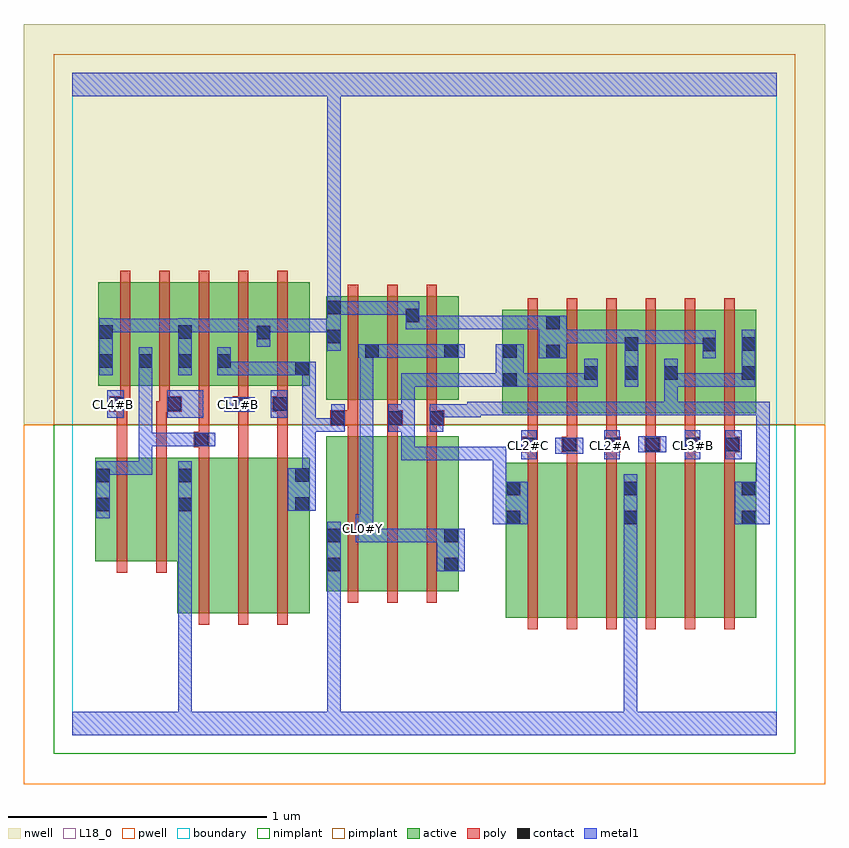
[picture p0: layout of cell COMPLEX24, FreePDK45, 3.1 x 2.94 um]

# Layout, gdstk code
import gdstk
lib = gdstk.Library(unit=1e-6, precision=1e-09)
def R(c, l, rs):  # rectangles x0, y0, x1, y1
    for r in rs: c.add(gdstk.rectangle(r[:2], r[2:], *l))
def A(c, l, x, y, w, h, nx, ny, dx, dy):  # array of equal rectangles
    R(c, l, [(x+i*dx, y+j*dy, x+i*dx+w, y+j*dy+h) for i in range(nx) for j in range(ny)])
active = (1, 0)
pwell = (2, 0)
nwell = (3, 0)
nimplant = (4, 0)
pimplant = (5, 0)
poly = (9, 0)
contact = (10, 0)
metal1 = (11, 0)
L18_0 = (18, 0)
boundary = (235, 0)

complex24 = lib.new_cell('COMPLEX24')
A(complex24, active, 0.1, 1.35, 0.212, 0.4, 4, 1, 0.152, 0)
A(complex24, active, 0.1, 1.35, 0.06, 0.294, 5, 1, 0.152, 0)
R(complex24, active, [(1.674,0.454,1.854,1.054), (1.854,0.454,2.006,1.054), (2.006,0.454,2.186,1.054), (2.126,0.454,2.31,1.054), (2.31,0.454,2.462,1.054), (2.462,0.454,2.642,1.054), (0.404,0.472,0.584,1.072), (0.584,0.472,0.736,1.072), (0.736,0.472,0.916,1.072), (0.856,0.556,0.916,1.072), (0.98,0.556,1.16,1.156), (0.98,0.556,1.04,1.156), (1.16,0.556,1.312,1.156), (1.312,0.556,1.492,1.156), (1.432,0.556,1.492,1.156), (1.674,0.556,1.734,1.054), (2.126,0.556,2.186,0.984), (2.582,0.556,2.642,1.054), (0.088,0.672,0.268,1.072), (0.268,0.672,0.464,1.072), (0.088,0.756,0.148,1.072), (0.404,0.756,0.464,1.072), (1.66,1.244,1.72,1.644), (1.66,1.244,1.886,1.644), (1.826,1.244,1.886,1.644), (1.826,1.244,2.034,1.644), (1.974,1.244,2.034,1.644), (1.974,1.244,2.19,1.644), (2.13,1.244,2.19,1.644), (2.13,1.244,2.342,1.644), (2.282,1.244,2.342,1.644), (2.282,1.244,2.49,1.644), (2.43,1.244,2.49,1.644), (2.43,1.244,2.642,1.644), (2.582,1.244,2.642,1.644), (0.98,1.296,1.188,1.696), (0.98,1.296,1.04,1.682), (1.128,1.296,1.344,1.696), (1.128,1.296,1.188,1.644), (1.284,1.296,1.344,1.696), (1.284,1.296,1.492,1.696), (1.432,1.296,1.492,1.644), (0.708,1.35,0.916,1.75), (0.856,1.35,0.916,1.644)])
R(complex24, pwell, [(-0.188,-0.188,2.908,1.2)])
R(complex24, nwell, [(-0.188,1.2,2.908,2.748)])
R(complex24, nimplant, [(-0.072,-0.072,2.792,1.2)])
R(complex24, pimplant, [(-0.072,1.2,2.792,2.632)])
A(complex24, poly, 1.758, 0.41, 0.04, 0.688, 6, 1, 0.152, 0)
A(complex24, poly, 0.488, 0.428, 0.04, 0.688, 3, 1, 0.152, 0)
A(complex24, poly, 1.064, 0.512, 0.04, 0.688, 3, 1, 0.152, 0)
A(complex24, poly, 1.758, 1.058, 0.04, 0.076, 6, 1, 0.152, 0)
A(complex24, poly, 1.758, 1.114, 0.04, 0.126, 6, 1, 0.152, 0)
A(complex24, poly, 1.064, 1.16, 0.04, 0.076, 3, 2, 0.152, 0.056)
A(complex24, poly, 1.758, 1.2, 0.04, 0.488, 6, 1, 0.152, 0)
A(complex24, poly, 1.064, 1.252, 0.04, 0.488, 3, 1, 0.152, 0)
A(complex24, poly, 0.184, 1.306, 0.04, 0.488, 5, 1, 0.152, 0)
R(complex24, poly, [(0.172,0.628,0.212,1.116), (0.324,0.628,0.364,1.116), (0.172,1.076,0.212,1.29), (0.324,1.076,0.364,1.29), (0.488,1.076,0.528,1.152), (0.64,1.076,0.68,1.29), (0.792,1.076,0.832,1.29), (1.738,1.094,1.798,1.154), (1.89,1.094,1.95,1.154), (2.058,1.094,2.118,1.154), (2.21,1.094,2.27,1.154), (2.366,1.094,2.426,1.154), (2.518,1.094,2.578,1.154), (0.468,1.112,0.528,1.172), (1.758,1.114,1.798,1.154), (1.758,1.114,1.798,1.154), (1.91,1.114,1.95,1.154), (1.91,1.114,1.95,1.154), (2.062,1.114,2.102,1.154), (2.062,1.114,2.102,1.154), (2.214,1.114,2.254,1.154), (2.214,1.114,2.254,1.154), (2.366,1.114,2.406,1.154), (2.366,1.114,2.406,1.154), (2.518,1.114,2.558,1.154), (2.518,1.114,2.558,1.154), (0.488,1.132,0.528,1.172), (0.488,1.132,0.528,1.172), (0.488,1.132,0.528,1.346), (0.996,1.196,1.104,1.256), (1.064,1.196,1.104,1.236), (1.064,1.196,1.104,1.236), (1.216,1.196,1.276,1.256), (1.368,1.196,1.408,1.236), (1.368,1.196,1.408,1.236), (1.368,1.196,1.436,1.256), (1.216,1.216,1.256,1.256), (1.216,1.216,1.256,1.256), (0.142,1.25,0.212,1.31), (0.324,1.25,0.376,1.29), (0.336,1.25,0.376,1.29), (0.336,1.25,0.422,1.31), (0.62,1.25,0.68,1.31), (0.64,1.25,0.68,1.29), (0.64,1.25,0.68,1.29), (0.772,1.25,0.832,1.31), (0.172,1.27,0.212,1.31), (0.172,1.27,0.224,1.31), (0.184,1.27,0.224,1.346), (0.336,1.27,0.376,1.346), (0.64,1.27,0.68,1.346), (0.792,1.27,0.832,1.31), (0.792,1.27,0.832,1.31), (0.792,1.27,0.832,1.346)])
A(complex24, contact, 0.104, 1.42, 0.052, 0.052, 4, 1, 0.152, 0)
R(complex24, contact, [(0.984,0.634,1.036,0.686), (1.436,0.634,1.488,0.686), (0.984,0.746,1.036,0.798), (1.436,0.746,1.488,0.798), (1.678,0.816,1.73,0.868), (2.13,0.816,2.182,0.868), (2.586,0.816,2.638,0.868), (0.092,0.866,0.144,0.918), (0.408,0.866,0.46,0.918), (0.86,0.868,0.912,0.92), (1.678,0.928,1.73,0.98), (2.13,0.928,2.182,0.98), (2.586,0.928,2.638,0.98), (0.092,0.978,0.144,1.03), (0.408,0.978,0.46,1.03), (0.86,0.98,0.912,1.032), (1.742,1.098,1.794,1.15), (1.894,1.098,1.946,1.15), (2.062,1.098,2.114,1.15), (2.214,1.098,2.266,1.15), (2.37,1.098,2.422,1.15), (2.522,1.098,2.574,1.15), (0.472,1.116,0.524,1.168), (1,1.2,1.052,1.252), (1.22,1.2,1.272,1.252), (1.38,1.2,1.432,1.252), (0.146,1.254,0.198,1.306), (0.366,1.254,0.418,1.306), (0.624,1.254,0.676,1.306), (0.776,1.254,0.828,1.306), (1.664,1.346,1.716,1.398), (1.978,1.374,2.03,1.426), (2.134,1.374,2.186,1.426), (2.286,1.374,2.338,1.426), (2.586,1.374,2.638,1.426), (0.86,1.392,0.912,1.444), (1.83,1.456,1.882,1.508), (1.132,1.458,1.184,1.51), (1.436,1.458,1.488,1.51), (1.664,1.458,1.716,1.51), (2.434,1.484,2.486,1.536), (2.134,1.486,2.186,1.538), (2.586,1.486,2.638,1.538), (0.984,1.514,1.036,1.566), (0.712,1.53,0.764,1.582), (0.104,1.532,0.156,1.584), (0.408,1.532,0.46,1.584), (1.83,1.568,1.882,1.62), (1.288,1.596,1.34,1.648), (0.984,1.626,1.036,1.678)])
R(complex24, metal1, [(0,0,2.72,0.092), (0.408,0.04,0.46,0.092), (0.408,0.04,0.46,0.092), (0.408,0.04,0.46,0.092), (0.408,0.04,0.46,0.092), (0.408,0.04,0.46,0.092), (0.408,0.04,0.46,0.092), (0.408,0.04,0.46,0.092), (0.408,0.04,0.46,0.092), (0.408,0.04,0.46,0.89), (0.984,0.04,1.036,0.092), (0.984,0.04,1.036,0.092), (0.984,0.04,1.036,0.658), (2.13,0.04,2.182,0.092), (2.13,0.04,2.182,0.092), (2.13,0.04,2.182,0.092), (2.13,0.04,2.182,0.092), (2.13,0.04,2.182,0.092), (2.13,0.04,2.182,0.092), (2.13,0.04,2.182,0.092), (2.13,0.04,2.182,0.092), (2.13,0.04,2.182,0.84), (0.984,0.606,1.036,0.658), (0.984,0.606,1.036,0.658), (0.984,0.606,1.036,0.658), (0.984,0.606,1.036,0.658), (0.984,0.606,1.036,0.658), (0.984,0.606,1.036,0.658), (0.984,0.606,1.036,0.826), (1.408,0.634,1.516,0.798), (1.094,0.746,1.162,0.854), (1.11,0.746,1.162,0.798), (1.11,0.746,1.162,0.798), (1.11,0.746,1.322,0.798), (1.27,0.746,1.322,0.798), (1.27,0.746,1.322,0.798), (1.27,0.746,1.322,0.798), (1.27,0.746,1.46,0.798), (1.408,0.746,1.46,0.798), (1.408,0.746,1.46,0.798), (2.13,0.788,2.182,1.008), (1.11,0.802,1.162,1.51), (1.624,0.816,1.758,0.98), (2.558,0.816,2.694,0.98), (0.092,0.838,0.144,1.058), (0.408,0.838,0.46,1.058), (0.832,0.868,0.94,1.032), (1.624,0.928,1.676,1.114), (2.642,0.928,2.694,1.288), (0.888,0.98,0.94,1.032), (0.888,0.98,0.94,1.032), (0.888,0.98,0.94,1.224), (0.092,1.006,0.144,1.058), (0.092,1.006,0.144,1.058), (0.092,1.006,0.308,1.058), (0.256,1.006,0.308,1.058), (0.256,1.006,0.308,1.168), (1.27,1.062,1.322,1.224), (1.27,1.062,1.554,1.114), (1.502,1.062,1.554,1.114), (1.502,1.062,1.554,1.114), (1.502,1.062,1.554,1.114), (1.502,1.062,1.676,1.114), (1.624,1.062,1.676,1.114), (1.734,1.066,1.794,1.178), (2.054,1.066,2.114,1.178), (2.366,1.066,2.426,1.178), (2.522,1.066,2.586,1.178), (1.866,1.088,1.974,1.15), (2.186,1.094,2.294,1.156), (0.256,1.116,0.308,1.168), (0.256,1.116,0.308,1.168), (0.256,1.116,0.308,1.168), (0.256,1.116,0.308,1.168), (0.256,1.116,0.308,1.168), (0.256,1.116,0.496,1.168), (0.256,1.116,0.308,1.444), (0.444,1.116,0.496,1.168), (0.444,1.116,0.496,1.168), (0.444,1.116,0.552,1.168), (0.888,1.172,0.94,1.224), (0.888,1.172,0.94,1.224), (0.888,1.172,0.94,1.224), (0.888,1.172,1.052,1.224), (0.888,1.172,0.94,1.444), (1,1.172,1.052,1.28), (1.22,1.172,1.272,1.28), (1.22,1.172,1.322,1.224), (1.27,1.172,1.322,1.398), (1.38,1.172,1.432,1.28), (0.134,1.226,0.198,1.334), (0.366,1.226,0.506,1.334), (0.766,1.226,0.83,1.334), (1.38,1.228,1.578,1.28), (1.526,1.228,1.578,1.288), (1.526,1.236,1.706,1.288), (1.654,1.236,1.706,1.288), (1.654,1.236,1.706,1.288), (1.654,1.236,1.706,1.288), (1.654,1.236,1.92,1.288), (1.868,1.236,1.92,1.288), (1.868,1.236,1.92,1.288), (1.868,1.236,1.92,1.288), (1.868,1.236,2.072,1.288), (2.02,1.236,2.072,1.288), (2.02,1.236,2.072,1.288), (2.02,1.236,2.072,1.288), (2.02,1.236,2.228,1.288), (2.176,1.236,2.228,1.288), (2.176,1.236,2.228,1.288), (2.176,1.236,2.228,1.288), (2.176,1.236,2.338,1.288), (2.286,1.236,2.338,1.288), (2.286,1.236,2.338,1.288), (2.286,1.236,2.338,1.288), (2.286,1.236,2.5,1.288), (2.286,1.236,2.338,1.398), (2.448,1.236,2.5,1.288), (2.448,1.236,2.5,1.288), (2.448,1.236,2.5,1.288), (2.448,1.236,2.694,1.288), (2.642,1.236,2.694,1.288), (2.642,1.236,2.694,1.288), (2.642,1.236,2.694,1.288), (0.586,1.25,0.704,1.306), (1.27,1.346,1.322,1.398), (1.27,1.346,1.322,1.398), (1.27,1.346,1.322,1.398), (1.27,1.346,1.482,1.398), (1.43,1.346,1.482,1.398), (1.43,1.346,1.482,1.398), (1.43,1.346,1.482,1.398), (1.43,1.346,1.688,1.398), (1.636,1.346,1.744,1.51), (1.692,1.346,1.744,1.398), (1.692,1.346,1.744,1.398), (1.692,1.346,1.92,1.398), (1.868,1.346,1.92,1.398), (1.868,1.346,1.92,1.398), (1.868,1.346,1.92,1.398), (1.868,1.346,2.03,1.398), (1.978,1.346,2.03,1.454), (2.134,1.346,2.186,1.566), (2.286,1.346,2.338,1.398), (2.286,1.346,2.338,1.398), (2.286,1.346,2.338,1.454), (2.286,1.346,2.5,1.398), (2.448,1.346,2.5,1.398), (2.448,1.346,2.638,1.398), (2.586,1.346,2.638,1.398), (2.586,1.346,2.638,1.398), (2.586,1.346,2.638,1.566), (0.104,1.392,0.156,1.612), (0.256,1.392,0.308,1.5), (0.408,1.392,0.46,1.612), (0.56,1.392,0.612,1.444), (0.56,1.392,0.612,1.444), (0.56,1.392,0.612,1.5), (0.56,1.392,0.774,1.444), (0.722,1.392,0.774,1.444), (0.722,1.392,0.774,1.444), (0.722,1.392,0.774,1.444), (0.722,1.392,0.884,1.444), (0.832,1.392,0.94,1.444), (1.802,1.456,1.91,1.62), (2.434,1.456,2.486,1.564), (1.104,1.458,1.212,1.51), (1.11,1.458,1.162,1.51), (1.11,1.458,1.162,1.51), (1.16,1.458,1.212,1.51), (1.16,1.458,1.212,1.51), (1.16,1.458,1.322,1.51), (1.27,1.458,1.322,1.51), (1.27,1.458,1.322,1.51), (1.27,1.458,1.322,1.51), (1.27,1.458,1.46,1.51), (1.408,1.458,1.46,1.51), (1.408,1.458,1.46,1.51), (1.408,1.458,1.516,1.51), (0.984,1.486,1.036,1.706), (0.712,1.502,0.764,1.61), (2.134,1.512,2.186,1.564), (2.134,1.512,2.186,1.564), (2.134,1.512,2.376,1.564), (2.324,1.512,2.376,1.564), (2.324,1.512,2.376,1.564), (2.324,1.512,2.376,1.564), (2.324,1.512,2.486,1.564), (1.858,1.514,1.91,1.566), (1.858,1.514,1.91,1.566), (1.858,1.514,2.03,1.566), (1.978,1.514,2.03,1.566), (1.978,1.514,2.03,1.566), (1.978,1.514,2.03,1.566), (1.978,1.514,2.186,1.566), (0.104,1.558,0.156,1.61), (0.104,1.558,0.156,1.61), (0.104,1.558,0.308,1.61), (0.256,1.558,0.308,1.61), (0.256,1.558,0.308,1.61), (0.256,1.558,0.308,1.61), (0.256,1.558,0.46,1.61), (0.408,1.558,0.46,1.61), (0.408,1.558,0.46,1.61), (0.408,1.558,0.654,1.61), (0.602,1.558,0.654,1.61), (0.602,1.558,0.654,1.61), (0.602,1.558,0.654,1.61), (0.602,1.558,0.764,1.61), (0.712,1.558,0.764,1.61), (0.712,1.558,0.764,1.61), (0.712,1.558,0.942,1.61), (0.89,1.558,0.942,1.61), (0.89,1.558,1.036,1.61), (1.288,1.568,1.45,1.62), (1.288,1.568,1.34,1.676), (1.398,1.568,1.45,1.62), (1.398,1.568,1.45,1.62), (1.398,1.568,1.45,1.62), (1.398,1.568,1.688,1.62), (1.636,1.568,1.688,1.62), (1.636,1.568,1.688,1.62), (1.636,1.568,1.688,1.62), (1.636,1.568,1.854,1.62), (0.984,1.624,1.146,1.676), (1.094,1.624,1.146,1.676), (1.094,1.624,1.146,1.676), (1.094,1.624,1.146,1.676), (1.094,1.624,1.256,1.676), (1.204,1.624,1.256,1.676), (1.204,1.624,1.34,1.676), (0.984,1.654,1.036,1.706), (0.984,1.654,1.036,1.706), (0.984,1.654,1.036,2.52), (0,2.468,2.72,2.56), (0.984,2.468,1.036,2.52), (0.984,2.468,1.036,2.52), (0.984,2.468,1.036,2.52), (0.984,2.468,1.036,2.52), (0.984,2.468,1.036,2.52), (0.984,2.468,1.036,2.52), (0.984,2.468,1.036,2.52), (0.984,2.468,1.036,2.52), (0.984,2.468,1.036,2.52), (0.984,2.468,1.036,2.52), (0.984,2.468,1.036,2.52), (0.984,2.468,1.036,2.52), (0.984,2.468,1.036,2.52), (0.984,2.468,1.036,2.52)])
A(complex24, L18_0, 1.734, 1.094, 0.052, 0.052, 6, 1, 0.16, 0)
A(complex24, L18_0, 0.454, 1.254, 0.052, 0.052, 3, 1, 0.16, 0)
R(complex24, L18_0, [(0,0,2.72,0.092), (0.408,0.04,0.46,0.092), (0.408,0.04,0.46,0.092), (0.408,0.04,0.46,0.092), (0.408,0.04,0.46,0.092), (0.408,0.04,0.46,0.092), (0.408,0.04,0.46,0.092), (0.408,0.04,0.46,0.092), (0.408,0.04,0.46,0.092), (0.408,0.04,0.46,0.89), (0.984,0.04,1.036,0.092), (0.984,0.04,1.036,0.092), (0.984,0.04,1.036,0.658), (2.13,0.04,2.182,0.092), (2.13,0.04,2.182,0.092), (2.13,0.04,2.182,0.092), (2.13,0.04,2.182,0.092), (2.13,0.04,2.182,0.092), (2.13,0.04,2.182,0.092), (2.13,0.04,2.182,0.092), (2.13,0.04,2.182,0.092), (2.13,0.04,2.182,0.84), (0.984,0.606,1.036,0.826), (0.984,0.606,1.036,0.658), (0.984,0.606,1.036,0.658), (0.984,0.606,1.036,0.658), (0.984,0.606,1.036,0.658), (0.984,0.606,1.036,0.658), (0.984,0.606,1.036,0.658), (1.408,0.634,1.516,0.798), (1.094,0.746,1.162,0.854), (1.11,0.746,1.162,0.798), (1.11,0.746,1.162,0.798), (1.11,0.746,1.322,0.798), (1.27,0.746,1.322,0.798), (1.27,0.746,1.322,0.798), (1.27,0.746,1.322,0.798), (1.27,0.746,1.46,0.798), (1.408,0.746,1.46,0.798), (1.408,0.746,1.46,0.798), (1.094,0.774,1.146,0.826), (2.13,0.788,2.182,1.008), (1.11,0.802,1.162,1.51), (0.408,0.838,0.46,1.058), (1.734,1.066,1.794,1.178), (2.054,1.066,2.114,1.178), (2.366,1.066,2.426,1.178), (2.522,1.066,2.586,1.178), (1.866,1.088,1.974,1.15), (2.186,1.094,2.294,1.156), (0.134,1.226,0.198,1.334), (0.366,1.226,0.506,1.334), (0.766,1.226,0.83,1.334), (0.586,1.25,0.704,1.306), (0.134,1.254,0.186,1.306), (2.134,1.346,2.186,1.566), (0.104,1.392,0.156,1.612), (0.408,1.392,0.46,1.612), (1.802,1.456,1.91,1.62), (2.434,1.456,2.486,1.564), (1.104,1.458,1.212,1.51), (1.11,1.458,1.162,1.51), (1.11,1.458,1.162,1.51), (1.16,1.458,1.212,1.51), (1.16,1.458,1.212,1.51), (1.16,1.458,1.322,1.51), (1.27,1.458,1.322,1.51), (1.27,1.458,1.322,1.51), (1.27,1.458,1.322,1.51), (1.27,1.458,1.46,1.51), (1.408,1.458,1.46,1.51), (1.408,1.458,1.46,1.51), (1.408,1.458,1.516,1.51), (0.984,1.486,1.036,1.706), (0.712,1.502,0.764,1.61), (2.134,1.512,2.186,1.564), (2.134,1.512,2.186,1.564), (2.134,1.512,2.376,1.564), (2.324,1.512,2.376,1.564), (2.324,1.512,2.376,1.564), (2.324,1.512,2.376,1.564), (2.324,1.512,2.486,1.564), (1.858,1.514,1.91,1.566), (1.858,1.514,1.91,1.566), (1.858,1.514,2.03,1.566), (1.978,1.514,2.03,1.566), (1.978,1.514,2.03,1.566), (1.978,1.514,2.03,1.566), (1.978,1.514,2.186,1.566), (0.104,1.558,0.156,1.61), (0.104,1.558,0.156,1.61), (0.104,1.558,0.308,1.61), (0.256,1.558,0.308,1.61), (0.256,1.558,0.308,1.61), (0.256,1.558,0.308,1.61), (0.256,1.558,0.46,1.61), (0.408,1.558,0.46,1.61), (0.408,1.558,0.46,1.61), (0.408,1.558,0.654,1.61), (0.602,1.558,0.654,1.61), (0.602,1.558,0.654,1.61), (0.602,1.558,0.654,1.61), (0.602,1.558,0.764,1.61), (0.712,1.558,0.764,1.61), (0.712,1.558,0.764,1.61), (0.712,1.558,0.942,1.61), (0.89,1.558,0.942,1.61), (0.89,1.558,1.036,1.61), (1.288,1.568,1.34,1.676), (1.288,1.568,1.45,1.62), (1.398,1.568,1.45,1.62), (1.398,1.568,1.45,1.62), (1.398,1.568,1.45,1.62), (1.398,1.568,1.688,1.62), (1.636,1.568,1.688,1.62), (1.636,1.568,1.688,1.62), (1.636,1.568,1.688,1.62), (1.636,1.568,1.854,1.62), (0.984,1.624,1.146,1.676), (1.094,1.624,1.146,1.676), (1.094,1.624,1.146,1.676), (1.094,1.624,1.146,1.676), (1.094,1.624,1.256,1.676), (1.204,1.624,1.256,1.676), (1.204,1.624,1.34,1.676), (0.984,1.654,1.036,1.706), (0.984,1.654,1.036,1.706), (0.984,1.654,1.036,2.52), (0,2.468,2.72,2.56), (0.984,2.468,1.036,2.52), (0.984,2.468,1.036,2.52), (0.984,2.468,1.036,2.52), (0.984,2.468,1.036,2.52), (0.984,2.468,1.036,2.52), (0.984,2.468,1.036,2.52), (0.984,2.468,1.036,2.52), (0.984,2.468,1.036,2.52), (0.984,2.468,1.036,2.52), (0.984,2.468,1.036,2.52), (0.984,2.468,1.036,2.52), (0.984,2.468,1.036,2.52), (0.984,2.468,1.036,2.52), (0.984,2.468,1.036,2.52)])
R(complex24, boundary, [(0,0,2.72,2.56)])
complex24.add(gdstk.Label('CL0#Y', (1.12,0.8), layer=11, texttype=0))
complex24.add(gdstk.Label('CL1#B', (0.64,1.28), layer=11, texttype=0))
complex24.add(gdstk.Label('CL1#C', (0.8,1.28), layer=11, texttype=0))
complex24.add(gdstk.Label('CL2#A', (2.08,1.12), layer=11, texttype=0))
complex24.add(gdstk.Label('CL2#B', (1.92,1.12), layer=11, texttype=0))
complex24.add(gdstk.Label('CL2#C', (1.76,1.12), layer=11, texttype=0))
complex24.add(gdstk.Label('CL3#A', (2.24,1.12), layer=11, texttype=0))
complex24.add(gdstk.Label('CL3#B', (2.4,1.12), layer=11, texttype=0))
complex24.add(gdstk.Label('CL3#C', (2.56,1.12), layer=11, texttype=0))
complex24.add(gdstk.Label('CL4#A', (0.48,1.28), layer=11, texttype=0))
complex24.add(gdstk.Label('CL4#B', (0.16,1.28), layer=11, texttype=0))

lib.write_gds('COMPLEX24.gds')
